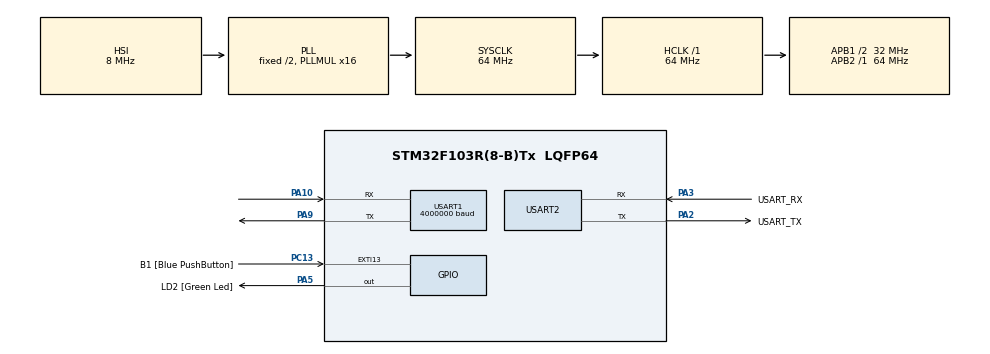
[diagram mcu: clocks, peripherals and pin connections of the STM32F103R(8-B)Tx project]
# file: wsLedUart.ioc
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Dma.Request0=USART1_TX
Dma.USART1_TX.0.Direction=DMA_MEMORY_TO_PERIPH
Dma.USART1_TX.0.Instance=DMA1_Channel4
Dma.USART1_TX.0.MemDataAlignment=DMA_MDATAALIGN_BYTE
Dma.USART1_TX.0.MemInc=DMA_MINC_ENABLE
Dma.USART1_TX.0.Mode=DMA_NORMAL
Dma.USART1_TX.0.PeriphDataAlignment=DMA_PDATAALIGN_BYTE
Dma.USART1_TX.0.PeriphInc=DMA_PINC_DISABLE
Dma.USART1_TX.0.Priority=DMA_PRIORITY_VERY_HIGH
Mcu.Family=STM32F1
Mcu.Name=STM32F103R(8-B)Tx
Mcu.Package=LQFP64
NVIC.DMA1_Channel4_IRQn=true\:0\:0\:false\:false\:true\:false\:true\:true
NVIC.EXTI15_10_IRQn=true\:0\:0\:false\:false\:true\:true\:true\:true
NVIC.PriorityGroup=NVIC_PRIORITYGROUP_4
PA10.Mode=Asynchronous
PA10.Signal=USART1_RX
PA13.GPIO_Label=TMS
PA13.Mode=Serial_Wire
PA13.Signal=SYS_JTMS-SWDIO
PA14.GPIO_Label=TCK
PA14.Mode=Serial_Wire
PA14.Signal=SYS_JTCK-SWCLK
PA2.GPIO_Label=USART_TX
PA2.GPIO_Mode=GPIO_MODE_AF_PP
PA2.GPIO_PuPd=GPIO_NOPULL
PA2.GPIO_Speed=GPIO_SPEED_FREQ_LOW
PA2.Mode=Asynchronous
PA2.Signal=USART2_TX
PA3.GPIO_Label=USART_RX
PA3.GPIO_Mode=GPIO_MODE_AF_PP
PA3.GPIO_PuPd=GPIO_NOPULL
PA3.GPIO_Speed=GPIO_SPEED_FREQ_LOW
PA3.Mode=Asynchronous
PA3.Signal=USART2_RX
PA5.GPIO_Label=LD2 [Green Led]
PA5.GPIO_ModeDefaultOutputPP=GPIO_MODE_OUTPUT_PP
PA5.GPIO_PuPd=GPIO_NOPULL
PA5.GPIO_Speed=GPIO_SPEED_FREQ_LOW
PA5.Signal=GPIO_Output
PA9.Mode=Asynchronous
PA9.Signal=USART1_TX
PB3.GPIO_Label=SWO
PB3.Signal=SYS_JTDO-TRACESWO
PC13-TAMPER-RTC.GPIO_Label=B1 [Blue PushButton]
PC13-TAMPER-RTC.GPIO_PuPd=GPIO_NOPULL
PC13-TAMPER-RTC.Signal=GPXTI13
PC14-OSC32_IN.Mode=LSE-External-Oscillator
PC14-OSC32_IN.Signal=RCC_OSC32_IN
PC15-OSC32_OUT.Mode=LSE-External-Oscillator
PC15-OSC32_OUT.Signal=RCC_OSC32_OUT
PD0-OSC_IN.Mode=HSE-External-Clock-Source
PD0-OSC_IN.Signal=RCC_OSC_IN
PD1-OSC_OUT.Mode=HSE-External-Clock-Source
PD1-OSC_OUT.Signal=RCC_OSC_OUT
ProjectManager.HeapSize=0x200
ProjectManager.StackSize=0x400
ProjectManager.TargetToolchain=STM32CubeIDE
RCC.AHBFreq_Value=64000000
RCC.APB1CLKDivider=RCC_HCLK_DIV2
RCC.APB1Freq_Value=32000000
RCC.APB1TimFreq_Value=64000000
RCC.APB2Freq_Value=64000000
RCC.APB2TimFreq_Value=64000000
RCC.HCLKFreq_Value=64000000
RCC.PLLMUL=RCC_PLL_MUL16
RCC.RTCClockSelection=RCC_RTCCLKSOURCE_LSE
RCC.SYSCLKFreq_VALUE=64000000
RCC.SYSCLKSource=RCC_SYSCLKSOURCE_PLLCLK
RCC.USBFreq_Value=64000000
USART1.BaudRate=4000000
USART1.VirtualMode=VM_ASYNC
USART2.VirtualMode=VM_ASYNC
board=NUCLEO-F103RB

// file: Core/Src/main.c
/* USER CODE BEGIN Header */
/**
  ******************************************************************************
  * @file           : main.c
  * @brief          : Main program body
  ******************************************************************************
  * @attention
  *
  * Copyright (c) 2025 STMicroelectronics.
  * All rights reserved.
  *
  * This software is licensed under terms that can be found in the LICENSE file
  * in the root directory of this software component.
  * If no LICENSE file comes with this software, it is provided AS-IS.
  *
  ******************************************************************************
  */
/* USER CODE END Header */
#include "main.h"

UART_HandleTypeDef huart1;
UART_HandleTypeDef huart2;
DMA_HandleTypeDef hdma_usart1_tx;

void SystemClock_Config(void);
static void MX_GPIO_Init(void);
static void MX_DMA_Init(void);
static void MX_USART2_UART_Init(void);
static void MX_USART1_UART_Init(void);
/* USER CODE BEGIN PFP */
void sendLed(uint32_t _ledColor);
/* USER CODE END PFP */

int main(void)
{

  /* MCU Configuration--------------------------------------------------------*/

  /* Reset of all peripherals, Initializes the Flash interface and the Systick. */
  HAL_Init();

  /* Configure the system clock */
  SystemClock_Config();

  /* Initialize all configured peripherals */
  MX_GPIO_Init();
  MX_DMA_Init();
  MX_USART2_UART_Init();
  MX_USART1_UART_Init();
  /* USER CODE BEGIN 2 */

  // WS LED data that will be sent to the LED. It's packed 4 bits but note that
  // UART is using start and stop bits. There is detailed explanation below.
  // per one bit of the LED color. And it's also inverted, due UART high-idle
  // state. So, before sending the data to the LED, signal must be inverted with
  // CMOS/TTL inverter. I used SN74LS00N with both inputs connected together and
  // with 1k pull-up at it's inputs.
  // How it works actually:
  // Byte array:    11001110   11001110   11001110   10001100   11001110   11001110   11001110   11001110   11001110   11001110   11001110   11001110
  // Start&stop:   S        E S        E S        E S        E S        E S        E S        E S        E S        E S        E S        E S        E
  // MSB->LSB:      01110011   01110011   01110011   00110001   01110011   01110011   01110011   01110011   01110011   01110011   01110011   01110011
  // Inverted       10001100   10001100   10001100   11001110   10001100   10001100   10001100   10001100   10001100   10001100   10001100   10001100
  // Start&Stop:   0        1 0        1 0        1 0        1 0        1 0        1 0        1 0        1 0        1 0        1 0        1 0        1
  // Start&StopInv:1        0 1        0 1        0 1        0 1        0 1        0 1        0 1        0 1        0 1        0 1        0 1        0
  // All:          1100011000 1100011000 1100011000 1110011100 1100011000 1100011000 1100011000 1100011000 1100011000 1100011000 1100011000 1100011000
  // WS Data:      G7:0 G6:0  G5:0 G4:0  G3:0 G2:0  G1:1 G0:1  R7:0 R6:0  R5:0 R4:0  R3:0 R2:0  R1:0 R0:0  B7:0 B6:0  B5:0 B4:0  B3:0 B2:0  B1:0 B0:0
  // This array will show green LED (same as example above)
  //uint8_t wsData[] =
  //{
  //    0b11001110,
  //    0b11001110,
  //    0b11001110,
  //    0b10001100,
  //    0b11001110,
  //    0b11001110,
  //    0b11001110,
  //    0b11001110,
  //    0b11001110,
  //    0b11001110,
  //    0b11001110,
  //    0b11001110,
  //};

  // Enable the DMA for the UART peripheral.
  __HAL_DMA_ENABLE(&hdma_usart1_tx);

  // Enable transmitting data with DAM on UART.
  ATOMIC_SET_BIT(huart1.Instance->CR3, USART_CR3_DMAT);

  // Now set the DMA and use this approach for setting the LED color. User is still using
  // the RGB888 as input.
  sendLed(0b000000000000000000000001);
  // Let's do the same for one more LED. Be careful here! if the pause between LEDs data
  // is larger then 40us, data will be applied to the LEDs will be reset.
  sendLed(0b000000000000000100000000);

  // Lets add few more colors.
  sendLed(0x010000);
  sendLed(0x010100);
  sendLed(0x010001);
  sendLed(0x000101);
  sendLed(0x010101);

  /* USER CODE END 2 */

  /* Infinite loop */
  while (1)
  {

  }
}

void SystemClock_Config(void)
{
  RCC_OscInitTypeDef RCC_OscInitStruct = {0};
  RCC_ClkInitTypeDef RCC_ClkInitStruct = {0};

  /** Initializes the RCC Oscillators according to the specified parameters
  * in the RCC_OscInitTypeDef structure.
  */
  RCC_OscInitStruct.OscillatorType = RCC_OSCILLATORTYPE_HSI;
  RCC_OscInitStruct.HSIState = RCC_HSI_ON;
  RCC_OscInitStruct.HSICalibrationValue = RCC_HSICALIBRATION_DEFAULT;
  RCC_OscInitStruct.PLL.PLLState = RCC_PLL_ON;
  RCC_OscInitStruct.PLL.PLLSource = RCC_PLLSOURCE_HSI_DIV2;
  RCC_OscInitStruct.PLL.PLLMUL = RCC_PLL_MUL16;
  if (HAL_RCC_OscConfig(&RCC_OscInitStruct) != HAL_OK)
  {
    Error_Handler();
  }

  /** Initializes the CPU, AHB and APB buses clocks
  */
  RCC_ClkInitStruct.ClockType = RCC_CLOCKTYPE_HCLK|RCC_CLOCKTYPE_SYSCLK
                              |RCC_CLOCKTYPE_PCLK1|RCC_CLOCKTYPE_PCLK2;
  RCC_ClkInitStruct.SYSCLKSource = RCC_SYSCLKSOURCE_PLLCLK;
  RCC_ClkInitStruct.AHBCLKDivider = RCC_SYSCLK_DIV1;
  RCC_ClkInitStruct.APB1CLKDivider = RCC_HCLK_DIV2;
  RCC_ClkInitStruct.APB2CLKDivider = RCC_HCLK_DIV1;

  if (HAL_RCC_ClockConfig(&RCC_ClkInitStruct, FLASH_LATENCY_2) != HAL_OK)
  {
    Error_Handler();
  }
}

static void MX_USART1_UART_Init(void)
{

  huart1.Instance = USART1;
  huart1.Init.BaudRate = 4000000;
  huart1.Init.WordLength = UART_WORDLENGTH_8B;
  huart1.Init.StopBits = UART_STOPBITS_1;
  huart1.Init.Parity = UART_PARITY_NONE;
  huart1.Init.Mode = UART_MODE_TX_RX;
  huart1.Init.HwFlowCtl = UART_HWCONTROL_NONE;
  huart1.Init.OverSampling = UART_OVERSAMPLING_16;
  if (HAL_UART_Init(&huart1) != HAL_OK)
  {
    Error_Handler();
  }

}

static void MX_USART2_UART_Init(void)
{

  huart2.Instance = USART2;
  huart2.Init.BaudRate = 115200;
  huart2.Init.WordLength = UART_WORDLENGTH_8B;
  huart2.Init.StopBits = UART_STOPBITS_1;
  huart2.Init.Parity = UART_PARITY_NONE;
  huart2.Init.Mode = UART_MODE_TX_RX;
  huart2.Init.HwFlowCtl = UART_HWCONTROL_NONE;
  huart2.Init.OverSampling = UART_OVERSAMPLING_16;
  if (HAL_UART_Init(&huart2) != HAL_OK)
  {
    Error_Handler();
  }

}

static void MX_DMA_Init(void)
{

  /* DMA controller clock enable */
  __HAL_RCC_DMA1_CLK_ENABLE();

  /* DMA interrupt init */
  /* DMA1_Channel4_IRQn interrupt configuration */
  HAL_NVIC_SetPriority(DMA1_Channel4_IRQn, 0, 0);
  HAL_NVIC_EnableIRQ(DMA1_Channel4_IRQn);

}

static void MX_GPIO_Init(void)
{
  GPIO_InitTypeDef GPIO_InitStruct = {0};

  /* GPIO Ports Clock Enable */
  __HAL_RCC_GPIOC_CLK_ENABLE();
  __HAL_RCC_GPIOD_CLK_ENABLE();
  __HAL_RCC_GPIOA_CLK_ENABLE();
  __HAL_RCC_GPIOB_CLK_ENABLE();

  /*Configure GPIO pin Output Level */
  HAL_GPIO_WritePin(LD2_GPIO_Port, LD2_Pin, GPIO_PIN_RESET);

  /*Configure GPIO pin : B1_Pin */
  GPIO_InitStruct.Pin = B1_Pin;
  GPIO_InitStruct.Mode = GPIO_MODE_IT_RISING;
  GPIO_InitStruct.Pull = GPIO_NOPULL;
  HAL_GPIO_Init(B1_GPIO_Port, &GPIO_InitStruct);

  /*Configure GPIO pin : LD2_Pin */
  GPIO_InitStruct.Pin = LD2_Pin;
  GPIO_InitStruct.Mode = GPIO_MODE_OUTPUT_PP;
  GPIO_InitStruct.Pull = GPIO_NOPULL;
  GPIO_InitStruct.Speed = GPIO_SPEED_FREQ_LOW;
  HAL_GPIO_Init(LD2_GPIO_Port, &GPIO_InitStruct);

  /* EXTI interrupt init*/
  HAL_NVIC_SetPriority(EXTI15_10_IRQn, 0, 0);
  HAL_NVIC_EnableIRQ(EXTI15_10_IRQn);

}

/* USER CODE BEGIN 4 */
void sendLed(uint32_t _ledColor)
{
    uint8_t wsData[] =
    {
        0b11001110,
        0b11001110,
        0b11001110,
        0b11001110,
        0b11001110,
        0b11001110,
        0b11001110,
        0b11001110,
        0b11001110,
        0b11001110,
        0b11001110,
        0b11001110,
    };

    // First modify the red channel.
    for (int i = 16; i < 24; i++)
    {
        if ((_ledColor >> i) & 1)
        {
            // (i-16) is to shift i from 16 to 24 to 0 to 8. That divided by to is because
            // there are two LED bits in one byte. A then 7 minus all calculated
            // before is to shift and move everything, so the bits that are being modified
            // go from 7 to 3 (see the detailed explanation on how the data is send (how
            // everything works).
            wsData[7 - ((i - 16) / 2)] &= (i & 1) ? ~(0b00000010): ~(0b01000000);
        }
    }

    // Now modify the green channel.
    for (int i = 8; i < 16; i++)
    {
        if ((_ledColor >> i) & 1)
        {
            wsData[3 - ((i - 8) / 2)] &= (i & 1) ? ~(0b00000010): ~(0b01000000);
        }
    }

    // Now modify the blue channel.
    for (int i = 0; i < 8; i++)
    {
        if ((_ledColor >> i) & 1)
        {
            wsData[11 - i/2] &= (i & 1) ? ~(0b00000010): ~(0b01000000);
        }
    }

    // Start the DMA transfer with pre-set UART settings. In this case it's data only for one LED.
    HAL_DMA_Start(&hdma_usart1_tx, (uint32_t)(wsData), (uint32_t)(&(huart1.Instance->DR)), 12);

    // Wait until the data has been sent completely.
    HAL_DMA_PollForTransfer(&hdma_usart1_tx, HAL_DMA_FULL_TRANSFER, 1ULL);
}
/* USER CODE END 4 */

void Error_Handler(void)
{
  __disable_irq();
  while (1)
  {
  }
}
